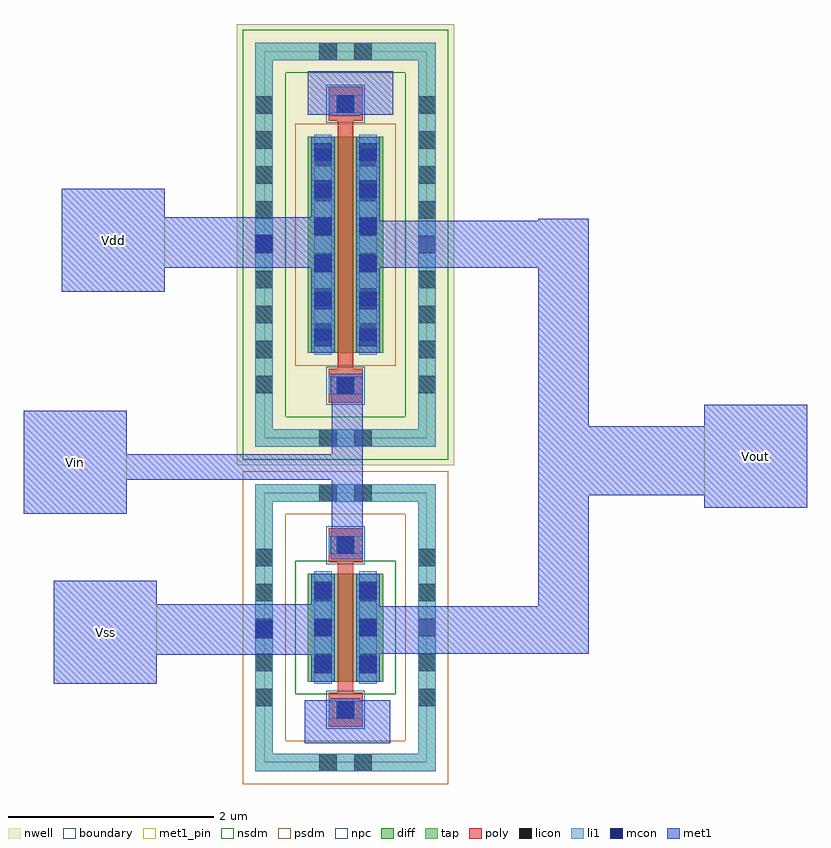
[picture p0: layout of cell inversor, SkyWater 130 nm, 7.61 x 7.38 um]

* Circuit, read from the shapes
.subckt inversor Vdd Vin Vout Vss
XM1 Vout Vin Vss Vss sky130_fd_pr__nfet_01v8 w=1.05 l=0.15
XM2 Vout Vin Vdd Vdd sky130_fd_pr__pfet_01v8 w=2.1 l=0.15
.ends

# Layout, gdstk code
from math import pi, radians
import gdstk
lib = gdstk.Library(unit=1e-6, precision=1e-09)
def R(c, l, rs):  # rectangles x0, y0, x1, y1
    for r in rs: c.add(gdstk.rectangle(r[:2], r[2:], *l))
def A(c, l, x, y, w, h, nx, ny, dx, dy):  # array of equal rectangles
    R(c, l, [(x+i*dx, y+j*dy, x+i*dx+w, y+j*dy+h) for i in range(nx) for j in range(ny)])
nwell = (64, 20)
diff = (65, 20)
tap = (65, 44)
poly = (66, 20)
licon = (66, 44)
li1 = (67, 20)
mcon = (67, 44)
met1_pin = (68, 16)
met1 = (68, 20)
nsdm = (93, 44)
psdm = (94, 20)
npc = (95, 20)
boundary = (235, 4)

sky130_fd_pr__nfet_01v8_ = lib.new_cell('sky130_fd_pr__nfet_01v8_RVFXGA')
R(sky130_fd_pr__nfet_01v8_, diff, [(-0.365,-0.525,0.365,0.525)])
R(sky130_fd_pr__nfet_01v8_, tap, [(-0.875,-1.395,0.875,-1.225), (-0.875,-1.225,-0.705,1.225), (0.705,-1.225,0.875,1.225), (-0.875,1.225,0.875,1.395)])
R(sky130_fd_pr__nfet_01v8_, poly, [(-0.165,-0.965,0.165,-0.635), (-0.075,-0.635,0.075,0.635), (-0.165,0.635,0.165,0.965)])
A(sky130_fd_pr__nfet_01v8_, licon, -0.875, -0.765, 0.17, 0.17, 1, 5, 0, 0.34)
A(sky130_fd_pr__nfet_01v8_, licon, 0.705, -0.765, 0.17, 0.17, 1, 5, 0, 0.34)
A(sky130_fd_pr__nfet_01v8_, licon, -0.305, -0.425, 0.17, 0.17, 1, 3, 0, 0.34)
A(sky130_fd_pr__nfet_01v8_, licon, 0.135, -0.425, 0.17, 0.17, 1, 3, 0, 0.34)
R(sky130_fd_pr__nfet_01v8_, licon, [(-0.255,-1.395,-0.085,-1.225), (0.085,-1.395,0.255,-1.225), (-0.085,-0.885,0.085,-0.715), (-0.085,0.715,0.085,0.885), (-0.255,1.225,-0.085,1.395), (0.085,1.225,0.255,1.395)])
R(sky130_fd_pr__nfet_01v8_, li1, [(-0.875,-1.395,0.875,-1.225), (-0.875,-1.225,-0.705,1.225), (0.705,-1.225,0.875,1.225), (-0.165,-0.885,0.165,-0.715), (-0.305,-0.545,-0.135,0.545), (0.135,-0.545,0.305,0.545), (-0.165,0.715,0.165,0.885), (-0.875,1.225,0.875,1.395)])
A(sky130_fd_pr__nfet_01v8_, mcon, -0.305, -0.445, 0.17, 0.17, 1, 3, 0, 0.36)
A(sky130_fd_pr__nfet_01v8_, mcon, 0.135, -0.445, 0.17, 0.17, 1, 3, 0, 0.36)
R(sky130_fd_pr__nfet_01v8_, mcon, [(-0.085,-0.885,0.085,-0.715), (-0.085,0.715,0.085,0.885)])
R(sky130_fd_pr__nfet_01v8_, met1, [(-0.145,-0.915,0.145,-0.685), (-0.335,-0.525,-0.105,0.525), (0.105,-0.525,0.335,0.525), (-0.145,0.685,0.145,0.915)])
R(sky130_fd_pr__nfet_01v8_, nsdm, [(-0.49,-0.65,0.49,0.65)])
R(sky130_fd_pr__nfet_01v8_, psdm, [(-1,-1.52,1,-1.1), (-1,-1.1,-0.58,1.1), (0.58,-1.1,1,1.1), (-1,1.1,1,1.52)])
R(sky130_fd_pr__nfet_01v8_, npc, [(-0.185,-0.985,0.185,-0.615), (-0.185,0.615,0.185,0.985)])
R(sky130_fd_pr__nfet_01v8_, boundary, [(-0.79,-1.31,0.79,1.31)])

sky130_fd_pr__pfet_01v8_ = lib.new_cell('sky130_fd_pr__pfet_01v8_YQ7HFC')
R(sky130_fd_pr__pfet_01v8_, nwell, [(-1.055,-2.145,1.055,2.145)])
R(sky130_fd_pr__pfet_01v8_, diff, [(-0.365,-1.05,0.365,1.05)])
R(sky130_fd_pr__pfet_01v8_, tap, [(-0.875,-1.965,0.875,-1.795), (-0.875,-1.795,-0.705,1.795), (0.705,-1.795,0.875,1.795), (-0.875,1.795,0.875,1.965)])
R(sky130_fd_pr__pfet_01v8_, poly, [(-0.165,-1.535,0.165,-1.205), (-0.075,-1.205,0.075,1.205), (-0.165,1.205,0.165,1.535)])
A(sky130_fd_pr__pfet_01v8_, licon, -0.875, -1.445, 0.17, 0.17, 1, 9, 0, 0.34)
A(sky130_fd_pr__pfet_01v8_, licon, 0.705, -1.445, 0.17, 0.17, 1, 9, 0, 0.34)
A(sky130_fd_pr__pfet_01v8_, licon, -0.305, -0.935, 0.17, 0.17, 1, 6, 0, 0.34)
A(sky130_fd_pr__pfet_01v8_, licon, 0.135, -0.935, 0.17, 0.17, 1, 6, 0, 0.34)
R(sky130_fd_pr__pfet_01v8_, licon, [(-0.255,-1.965,-0.085,-1.795), (0.085,-1.965,0.255,-1.795), (-0.085,-1.455,0.085,-1.285), (-0.085,1.285,0.085,1.455), (-0.255,1.795,-0.085,1.965), (0.085,1.795,0.255,1.965)])
R(sky130_fd_pr__pfet_01v8_, li1, [(-0.875,-1.965,0.875,-1.795), (-0.875,-1.795,-0.705,1.795), (0.705,-1.795,0.875,1.795), (-0.165,-1.455,0.165,-1.285), (-0.305,-1.07,-0.135,1.07), (0.135,-1.07,0.305,1.07), (-0.165,1.285,0.165,1.455), (-0.875,1.795,0.875,1.965)])
A(sky130_fd_pr__pfet_01v8_, mcon, -0.305, -0.985, 0.17, 0.17, 1, 6, 0, 0.36)
A(sky130_fd_pr__pfet_01v8_, mcon, 0.135, -0.985, 0.17, 0.17, 1, 6, 0, 0.36)
R(sky130_fd_pr__pfet_01v8_, mcon, [(-0.085,-1.455,0.085,-1.285), (-0.085,1.285,0.085,1.455)])
R(sky130_fd_pr__pfet_01v8_, met1, [(-0.145,-1.485,0.145,-1.255), (-0.335,-1.05,-0.105,1.05), (0.105,-1.05,0.335,1.05), (-0.145,1.255,0.145,1.485)])
R(sky130_fd_pr__pfet_01v8_, nsdm, [(-1,-2.09,1,-1.67), (-1,-1.67,-0.58,1.67), (0.58,-1.67,1,1.67), (-1,1.67,1,2.09)])
R(sky130_fd_pr__pfet_01v8_, psdm, [(-0.49,-1.175,0.49,1.175)])
R(sky130_fd_pr__pfet_01v8_, npc, [(-0.185,-1.555,0.185,-1.185), (-0.185,1.185,0.185,1.555)])
R(sky130_fd_pr__pfet_01v8_, boundary, [(-0.79,-1.88,0.79,1.88)])

inversor = lib.new_cell('inversor')
R(inversor, li1, [(-0.03,-8.08,0.14,-7.73), (-0.03,-4.33,0.14,-3.98)])
R(inversor, mcon, [(-0.03,-7.99,0.14,-7.82), (-0.03,-4.24,0.14,-4.07)])
R(inversor, met1_pin, [(-1.99,-8.43,-0.99,-7.43), (-2.28,-6.78,-1.28,-5.78), (4.33,-6.72,5.33,-5.72), (-1.91,-4.62,-0.91,-3.62)])
R(inversor, met1, [(0.45,-9.01,1.28,-8.59), (-1.99,-8.43,-0.99,-8.15), (-1.99,-8.15,0.59,-8.14), (-1.99,-8.14,0.68,-7.68), (0.99,-8.14,3.21,-7.68), (-1.99,-7.68,0.59,-7.66), (2.72,-7.68,3.21,-6.6), (-1.99,-7.66,-0.99,-7.43), (0.71,-7.22,1.01,-6.45), (-2.28,-6.78,-1.28,-6.45), (4.33,-6.72,5.33,-6.6), (2.72,-6.6,5.33,-5.93), (-2.28,-6.45,1.01,-6.2), (-2.28,-6.2,-1.28,-5.78), (0.71,-6.2,1.01,-5.42), (2.72,-5.93,3.21,-4.39), (4.33,-5.93,5.33,-5.72), (-1.91,-4.62,-0.91,-4.39), (-1.91,-4.39,0.71,-3.9), (0.97,-4.39,3.21,-3.93), (2.72,-3.93,3.21,-3.91), (-1.91,-3.9,-0.91,-3.62), (0.48,-2.9,1.31,-2.48)])
inversor.add(gdstk.Reference(sky130_fd_pr__nfet_01v8_, (0.845,-7.885), rotation=pi))
inversor.add(gdstk.Reference(sky130_fd_pr__pfet_01v8_, (0.845,-4.165)))
inversor.add(gdstk.Label('Vdd', (-1.41,-4.12), layer=68, texttype=5))
inversor.add(gdstk.Label('Vin', (-1.78,-6.28), layer=68, texttype=5))
inversor.add(gdstk.Label('Vout', (4.83,-6.22), layer=68, texttype=5))
inversor.add(gdstk.Label('Vss', (-1.49,-7.93), layer=68, texttype=5))

lib.write_gds('inversor.gds')
